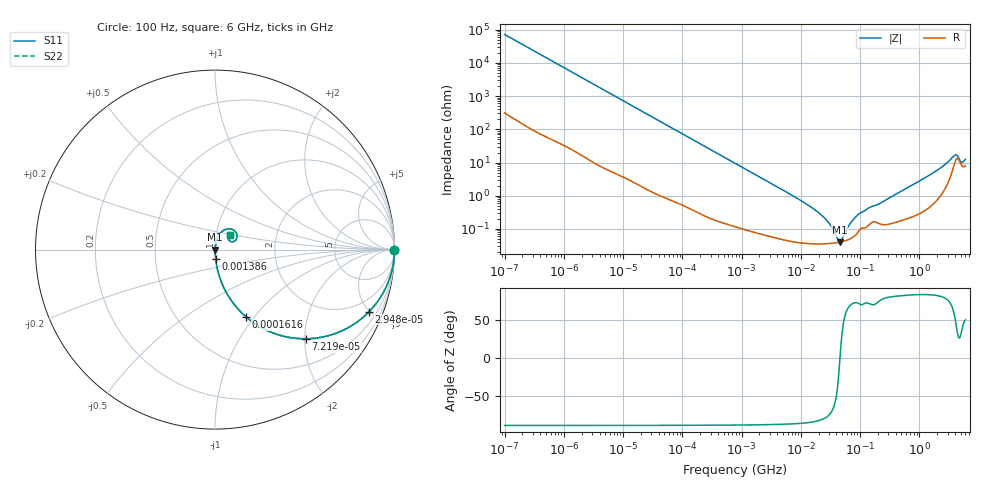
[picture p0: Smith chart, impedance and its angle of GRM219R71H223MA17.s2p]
!Murata Part Number: GRM219R71H223MA17
!These Parameters are Measured in Series Mode Connection
!Data Generated on Mar 30, 2021
!  o--ll--o
!Port1  Port2
!  o------o
!Operation Temp=25[degC], DC Bias Voltage=0[V]
!Freq. Start=100[Hz] Stop=6[GHz] 401[Steps]
# Hz S RI R 50
!Freq.(Hz) S11(Real) S11(Imag) S21(Real) S21(Imag) S12(Real) S12(Imag) S22(Real) S22(Imag)
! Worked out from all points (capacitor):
!   401 points, 100 Hz to 6 GHz, reference 50 ohm
!   read as one part in series: C = 22.1 nF near 109 Hz
!   lowest |Z| = 40.1 mohm at 45.56 MHz (marker M1)
!   series resonance near 45.85 MHz, so ESL is about 540 pH
!   S11 on the Smith chart (normalised r, x): 100 Hz: open; 29.48 kHz: 1.03, -4.95; 72.19 kHz: 1.01, -2.03; 161.6 kHz: 1.01, -0.91; 1.386 MHz: 1.00, -0.11; 6 GHz: 1.16, +0.19
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100  1 -0.00139  8e-06 0.00139  8e-06 0.00139  1 -0.00139
2008  0.9991 -0.0277  0.000892 0.0277  0.000892 0.0277  0.9991 -0.0277
9204  0.9836 -0.1243  0.0164 0.1243  0.0164 0.1243  0.9836 -0.1243
29482  0.8586 -0.3458  0.1414 0.3458  0.1414 0.3458  0.8586 -0.3458
40335  0.7654 -0.4209  0.2346 0.4209  0.2346 0.4209  0.7654 -0.4209
72189  0.5073 -0.4966  0.4927 0.4966  0.4927 0.4966  0.5073 -0.4966
161617  0.1734 -0.3748  0.8266 0.3748  0.8266 0.3748  0.1734 -0.3748
302498  0.0578 -0.2291  0.9422 0.2291  0.9422 0.2291  0.0578 -0.2291
774597  0.0102 -0.0945  0.9898 0.0945  0.9898 0.0945  0.0102 -0.0945
1386327  0.00371 -0.0533  0.9963 0.0533  0.9963 0.0533  0.00371 -0.0533
1.555665e7  0.000375 -0.00429  0.9996 0.00429  0.9996 0.00429  0.000375 -0.00429
2.784235e7  0.000363 -0.00171  0.9996 0.00171  0.9996 0.00171  0.000363 -0.00171
4.556224e7  0.0004 -2.05e-05  0.9996 2.05e-05  0.9996 2.05e-05  0.0004 -2.05e-05
4.983056e7  0.000415 0.000277  0.9996 -0.000277  0.9996 -0.000277  0.000415 0.000277
6.817316e7  0.000506 0.00136  0.9995 -0.00136  0.9995 -0.00136  0.000506 0.00136
9.326766e7  0.000824 0.0026  0.9992 -0.0026  0.9992 -0.0026  0.000824 0.0026
3.124326e8  0.00147 0.00851  0.9985 -0.00851  0.9985 -0.00851  0.00147 0.00851
1.712697e9  0.00785 0.048  0.9921 -0.048  0.9921 -0.048  0.00785 0.048
3.8344e9  0.088 0.1154  0.912 -0.1154  0.912 -0.1154  0.088 0.1154
4.193612e9  0.1203 0.0915  0.8797 -0.0915  0.8797 -0.0915  0.1203 0.0915
5.245841e9  0.0769 0.0528  0.9231 -0.0528  0.9231 -0.0528  0.0769 0.0528
6e9  0.0811 0.0819  0.9189 -0.0819  0.9189 -0.0819  0.0811 0.0819
